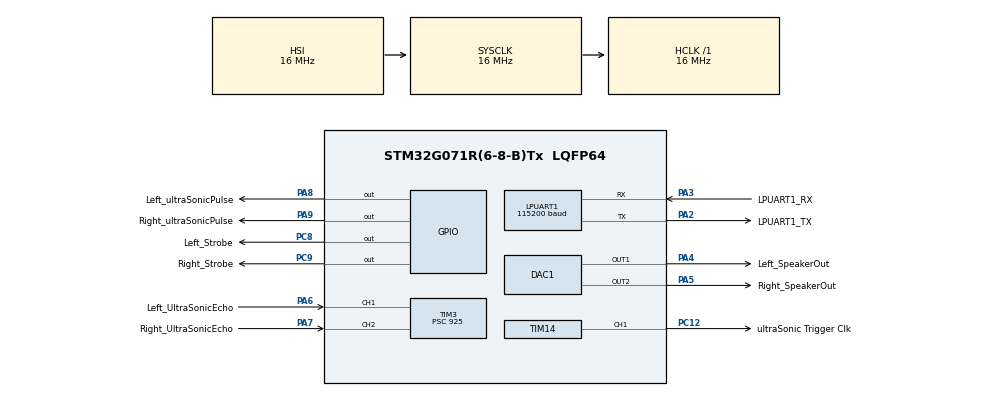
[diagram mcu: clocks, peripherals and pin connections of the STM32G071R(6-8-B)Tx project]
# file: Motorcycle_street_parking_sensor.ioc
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DAC1.DAC_Channel-DAC_OUT2=DAC_CHANNEL_2
DAC1.DAC_Trigger-DAC_OUT1=DAC_TRIGGER_T6_TRGO
DAC1.DAC_Trigger-DAC_OUT2=DAC_TRIGGER_T6_TRGO
Dma.DAC1_CH1.0.Direction=DMA_MEMORY_TO_PERIPH
Dma.DAC1_CH1.0.EventEnable=DISABLE
Dma.DAC1_CH1.0.Instance=DMA1_Channel1
Dma.DAC1_CH1.0.MemDataAlignment=DMA_MDATAALIGN_BYTE
Dma.DAC1_CH1.0.MemInc=DMA_MINC_ENABLE
Dma.DAC1_CH1.0.Mode=DMA_NORMAL
Dma.DAC1_CH1.0.PeriphDataAlignment=DMA_PDATAALIGN_BYTE
Dma.DAC1_CH1.0.PeriphInc=DMA_PINC_DISABLE
Dma.DAC1_CH1.0.Polarity=HAL_DMAMUX_REQ_GEN_RISING
Dma.DAC1_CH1.0.Priority=DMA_PRIORITY_LOW
Dma.DAC1_CH1.0.RequestNumber=1
Dma.DAC1_CH1.0.SignalID=NONE
Dma.DAC1_CH1.0.SyncEnable=DISABLE
Dma.DAC1_CH1.0.SyncPolarity=HAL_DMAMUX_SYNC_NO_EVENT
Dma.DAC1_CH1.0.SyncRequestNumber=1
Dma.DAC1_CH1.0.SyncSignalID=NONE
Dma.DAC1_CH2.1.Direction=DMA_MEMORY_TO_PERIPH
Dma.DAC1_CH2.1.EventEnable=DISABLE
Dma.DAC1_CH2.1.Instance=DMA1_Channel2
Dma.DAC1_CH2.1.MemDataAlignment=DMA_MDATAALIGN_BYTE
Dma.DAC1_CH2.1.MemInc=DMA_MINC_ENABLE
Dma.DAC1_CH2.1.Mode=DMA_NORMAL
Dma.DAC1_CH2.1.PeriphDataAlignment=DMA_PDATAALIGN_BYTE
Dma.DAC1_CH2.1.PeriphInc=DMA_PINC_DISABLE
Dma.DAC1_CH2.1.Polarity=HAL_DMAMUX_REQ_GEN_RISING
Dma.DAC1_CH2.1.Priority=DMA_PRIORITY_LOW
Dma.DAC1_CH2.1.RequestNumber=1
Dma.DAC1_CH2.1.SignalID=NONE
Dma.DAC1_CH2.1.SyncEnable=DISABLE
Dma.DAC1_CH2.1.SyncPolarity=HAL_DMAMUX_SYNC_NO_EVENT
Dma.DAC1_CH2.1.SyncRequestNumber=1
Dma.DAC1_CH2.1.SyncSignalID=NONE
Dma.Request0=DAC1_CH1
Dma.Request1=DAC1_CH2
FREERTOS.INCLUDE_eTaskGetState=1
FREERTOS.INCLUDE_pcTaskGetTaskName=1
FREERTOS.INCLUDE_uxTaskGetStackHighWaterMark=1
FREERTOS.INCLUDE_vTaskDelayUntil=1
FREERTOS.INCLUDE_xTaskGetCurrentTaskHandle=1
FREERTOS.Tasks01=SirenSound,0,128,StartTaskSirenSound,Default,&LeftSiren,Dynamic,NULL,NULL;LightFlash,-3,128,StartTaskLightFlash,Default,&LeftStrobe,Dynamic,NULL,NULL;SensorRead,-3,128,StartTaskSensorRead,Default,&LeftSensor,Dynamic,NULL,NULL;UartDebug,-3,128,StartTaskUartDebug,Default,NULL,Dynamic,NULL,NULL
FREERTOS.configTOTAL_HEAP_SIZE=6144
FREERTOS.configUSE_TIMERS=0
LPUART1.BaudRate=115200
LPUART1.WordLength=UART_WORDLENGTH_8B
Mcu.Family=STM32G0
Mcu.Name=STM32G071R(6-8-B)Tx
Mcu.Package=LQFP64
NVIC.DMA1_Channel1_IRQn=true\:3\:0\:false\:false\:true\:true\:false\:true
NVIC.DMA1_Channel2_3_IRQn=true\:3\:0\:false\:false\:true\:true\:false\:true
NVIC.TIM2_IRQn=true\:0\:0\:false\:false\:true\:false\:false\:true
NVIC.TIM3_IRQn=true\:3\:0\:false\:false\:true\:true\:true\:true
NVIC.TIM6_DAC_LPTIM1_IRQn=true\:3\:0\:false\:false\:true\:true\:true\:true
NVIC.TimeBase=TIM2_IRQn
NVIC.TimeBaseIP=TIM2
PA13.GPIO_Label=TMS
PA13.Mode=Serial_Wire
PA13.Signal=SYS_SWDIO
PA14-BOOT0.GPIO_Label=TCK
PA14-BOOT0.Mode=Serial_Wire
PA14-BOOT0.Signal=SYS_SWCLK
PA2.GPIO_Label=LPUART1_TX
PA2.Mode=Asynchronous
PA2.Signal=LPUART1_TX
PA3.GPIO_Label=LPUART1_RX
PA3.Mode=Asynchronous
PA3.Signal=LPUART1_RX
PA4.GPIO_Label=Left_SpeakerOut
PA4.Signal=COMP_DAC11_group
PA5.GPIO_Label=Right_SpeakerOut
PA5.Signal=COMP_DAC12_group
PA6.GPIO_Label=Left_UltraSonicEcho
PA6.Signal=S_TIM3_CH1
PA7.GPIO_Label=Right_UltraSonicEcho
PA7.Signal=S_TIM3_CH2
PA8.GPIO_Label=Left_ultraSonicPulse
PA8.Signal=GPIO_Output
PA9.GPIO_Label=Right_ultraSonicPulse
PA9.Signal=GPIO_Output
PC12.GPIO_Label=ultraSonic Trigger Clk
PC12.Signal=S_TIM14_CH1
PC13.Mode=SYS_WakeUp1
PC13.Signal=SYS_WKUP2
PC14-OSC32_IN\ (PC14).Mode=LSE-External-Oscillator
PC14-OSC32_IN\ (PC14).Signal=RCC_OSC32_IN
PC15-OSC32_OUT\ (PC15).Mode=LSE-External-Oscillator
PC15-OSC32_OUT\ (PC15).Signal=RCC_OSC32_OUT
PC8.GPIO_Label=Left_Strobe
PC8.Signal=GPIO_Output
PC9.GPIO_Label=Right_Strobe
PC9.Signal=GPIO_Output
PF0-OSC_IN\ (PF0).GPIO_Label=MCO
PF0-OSC_IN\ (PF0).Mode=HSE-External-Clock-Source
PF0-OSC_IN\ (PF0).Signal=RCC_OSC_IN
ProjectManager.HeapSize=0x200
ProjectManager.StackSize=0x400
ProjectManager.TargetToolchain=MDK-ARM V5
RCC.ADCFreq_Value=16000000
RCC.AHBFreq_Value=16000000
RCC.CortexFreq_Value=16000000
RCC.EXTERNAL_CLOCK_VALUE=12288000
RCC.HCLKFreq_Value=16000000
RCC.HSE_VALUE=8000000
RCC.HSI_VALUE=16000000
RCC.SYSCLKFreq_VALUE=16000000
RCC.VCOOutputFreq_Value=128000000
SH.COMP_DAC11_group.0=DAC1_OUT1,DAC_OUT1
SH.COMP_DAC12_group.0=DAC1_OUT2,DAC_OUT2
SH.S_TIM14_CH1.0=TIM14_CH1,PWM Generation1 CH1
SH.S_TIM3_CH1.0=TIM3_CH1,Input_Capture1_from_TI1
SH.S_TIM3_CH2.0=TIM3_CH2,Input_Capture2_from_TI2
TIM14.Channel=TIM_CHANNEL_1
TIM14.Period=400
TIM14.Pulse=200
TIM3.Channel-Input_Capture1_from_TI1=TIM_CHANNEL_1
TIM3.Channel-Input_Capture2_from_TI2=TIM_CHANNEL_2
TIM3.ClockDivision=TIM_CLOCKDIVISION_DIV1
TIM3.ICFilter_CH1=8
TIM3.Prescaler=925
TIM6.Period=333
TIM6.Prescaler=0
TIM6.TIM_MasterOutputTrigger=TIM_TRGO_UPDATE
VP_FREERTOS_VS_CMSIS_V1.Mode=CMSIS_V1
VP_SYS_VS_tim2.Mode=TIM2
VP_TIM14_VS_ClockSourceINT.Mode=Enable_Timer
VP_TIM3_VS_ClockSourceINT.Mode=Internal
VP_TIM6_VS_ClockSourceINT.Mode=Enable_Timer
board=NUCLEO-G071RB

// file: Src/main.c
/* USER CODE BEGIN Header */
/**
  ******************************************************************************
  * @file		   : main.c
  * @brief		  : Main program body
  ******************************************************************************
  ** This notice applies to any and all portions of this file
  * that are not between comment pairs USER CODE BEGIN and
  * USER CODE END. Other portions of this file, whether
  * inserted by the user or by software development tools
  * are owned by their respective copyright owners.
  *
  * COPYRIGHT(c) 2019 STMicroelectronics
  *
  * Redistribution and use in source and binary forms, with or without modification,
  * are permitted provided that the following conditions are met:
  *   1. Redistributions of source code must retain the above copyright notice,
  *	  this list of conditions and the following disclaimer.
  *   2. Redistributions in binary form must reproduce the above copyright notice,
  *	  this list of conditions and the following disclaimer in the documentation
  *	  and/or other materials provided with the distribution.
  *   3. Neither the name of STMicroelectronics nor the names of its contributors
  *	  may be used to endorse or promote products derived from this software
  *	  without specific prior written permission.
  *
  * THIS SOFTWARE IS PROVIDED BY THE COPYRIGHT HOLDERS AND CONTRIBUTORS "AS IS"
  * AND ANY EXPRESS OR IMPLIED WARRANTIES, INCLUDING, BUT NOT LIMITED TO, THE
  * IMPLIED WARRANTIES OF MERCHANTABILITY AND FITNESS FOR A PARTICULAR PURPOSE ARE
  * DISCLAIMED. IN NO EVENT SHALL THE COPYRIGHT HOLDER OR CONTRIBUTORS BE LIABLE
  * FOR ANY DIRECT, INDIRECT, INCIDENTAL, SPECIAL, EXEMPLARY, OR CONSEQUENTIAL
  * DAMAGES (INCLUDING, BUT NOT LIMITED TO, PROCUREMENT OF SUBSTITUTE GOODS OR
  * SERVICES; LOSS OF USE, DATA, OR PROFITS; OR BUSINESS INTERRUPTION) HOWEVER
  * CAUSED AND ON ANY THEORY OF LIABILITY, WHETHER IN CONTRACT, STRICT LIABILITY,
  * OR TORT (INCLUDING NEGLIGENCE OR OTHERWISE) ARISING IN ANY WAY OUT OF THE USE
  * OF THIS SOFTWARE, EVEN IF ADVISED OF THE POSSIBILITY OF SUCH DAMAGE.
  *
  ******************************************************************************
  */
/* USER CODE END Header */

#include "main.h"
#include "cmsis_os.h"

/* USER CODE BEGIN Includes */
#include <string.h>
#include <stdio.h>
#include <stdbool.h>

#include "WaveGeneration.h"
/* USER CODE END Includes */

/* USER CODE BEGIN PTD */
typedef enum _eMessagePriority
{
	LOG_EMERG	= 0,	/* system is unusable */
	LOG_ALERT	= 1,	/* action must be taken immediately */
	LOG_CRIT	= 2,	/* critical conditions */
	LOG_ERR		= 3,	/*  error conditions */
	LOG_WARNING	= 4,	/* warning conditions */
	LOG_NOTICE	= 5,	/* normal but significant condition */
	LOG_INFO	= 6,	/* informational */
	LOG_DEBUG	= 7,	/* debug-level messages */
}eMessagePriority;

const int MAX_MESSAGE_LENGTH = 32;
typedef struct _T_DbgMessage
{
	osThreadId calling_thread;
	char message[MAX_MESSAGE_LENGTH];
	TickType_t  tick_count;		//=xTaskGetTickCount();
	eMessagePriority priority;
} T_DbgMessage;

typedef struct _T_LightThreadArgs
{
	uint16_t strobe_pin;
	GPIO_TypeDef *strobe_port;
	uint32_t signal_mask;
} T_LightThreadArgs;

typedef struct _T_SensorThreadArgs
{
	uint16_t pulse_pin;
	GPIO_TypeDef *pulse_port;

	uint16_t echo_pin;
	GPIO_TypeDef *echo_port;

	uint32_t timer_capture_mask;
	uint32_t signal_mask;
	uint32_t icp_timer_channel;
} T_SensorThreadArgs;

typedef struct _T_SirenThreadArgs
{
	uint16_t siren_pin;
	GPIO_TypeDef *siren_port;
	uint32_t dac_channel;

	uint32_t signal_mask;
} T_SirenThreadArgs;

typedef enum _eRTOSSignals
{
	//signal is going to be a bitfield
	eSigBlank = 0x00,
	//lsb = isLeft
	eSigIsRight = 0x00,
	eSigIsLeft  = 0x01,

	//next is Light signal
	eSigIsLight = 0x02,

	//and then Siren
	eSigIsSiren = 0x04,

	//Sensor Evaluate, the actual sensor readings are done by interrupt
	eSigIsSensor= 0x08,
}eRTOSSignals;

/* USER CODE END PTD */

/* USER CODE BEGIN PD */
//------------------- ULTRA SONIC SENSOR PARAMETERS ---------------------------
//Maximum range is 4.5 meters. Sound at Standard Atmosphere temperature travels
//346 m/s. so our max ROUND TRIP time is (4.5m*2) * 340m/s = 26.47ms
const float SPEED_OF_SOUND_25C_CMpS = (346*100); //m/s
const uint8_t MAX_SONAR_DELAY_MS = 33;

//These thresholds are used when reading distance values from the ultrasonic
//sensor
const uint32_t MIN_DISTANCE_CLK_CYCLE_CM = 60;
const uint32_t THRESHOLD_VELOCITY_CHANGE = 10;

const uint16_t SIREN_SOUNDING_PERIOD_MS = 3000;
/* USER CODE END PD */

DAC_HandleTypeDef hdac1;
DMA_HandleTypeDef hdma_dac1_ch1;
DMA_HandleTypeDef hdma_dac1_ch2;

UART_HandleTypeDef hlpuart1;

TIM_HandleTypeDef htim3;
TIM_HandleTypeDef htim6;
TIM_HandleTypeDef htim14;

osThreadId SirenSoundHandle;
osThreadId LightFlashHandle;
osThreadId SensorReadHandle;
osThreadId UartDebugHandle;
/* USER CODE BEGIN PV */
osThreadId RightSirenSoundHandle;
osThreadId RightLightFlashHandle;
osThreadId RightSensorReadHandle;

//creates a mailbox containing up to 16 T_DbgMessages
osMailQId UartMailbox;
osMailQDef(UartMailbox, 16, T_DbgMessage);
/* USER CODE END PV */

void SystemClock_Config(void);
static void MX_GPIO_Init(void);
static void MX_DMA_Init(void);
static void MX_LPUART1_UART_Init(void);
static void MX_DAC1_Init(void);
static void MX_TIM3_Init(void);
static void MX_TIM14_Init(void);
static void MX_TIM6_Init(void);
void StartTaskSirenSound(void const * argument);
void StartTaskLightFlash(void const * argument);
void StartTaskSensorRead(void const * argument);
void StartTaskUartDebug(void const * argument);

/* USER CODE BEGIN 0 */

uint8_t  gau8_NUM_TIM3_ICP_READINGS_CHAN[2] = {0,0};
uint16_t gau16_TIM3_ICP_AVERAGE_CHAN[2]	 = {0,0};
uint32_t gu32_TIM3_ICP_SUM_CHAN[2]		  = {0,0};
uint16_t gu16_TIM3_CURR_ICP_CHAN[2]		 = {0,0};
uint16_t gu16_TIM3_PREV_ICP_CHAN[2]		 = {0,0};

WaveGenerator sound_engine;
/* USER CODE END 0 */

int main(void)
{
  /* USER CODE BEGIN 1 */
	char str_buffer[22];
	T_LightThreadArgs LeftStrobe;
	T_LightThreadArgs RightStrobe;
	T_SensorThreadArgs LeftSensor;
	T_SensorThreadArgs RightSensor;
	T_SirenThreadArgs LeftSiren;
	T_SirenThreadArgs RightSiren;

  /* USER CODE END 1 */

  /* MCU Configuration--------------------------------------------------------*/

  /* Reset of all peripherals, Initializes the Flash interface and the Systick. */
  HAL_Init();

  /* Configure the system clock */
  SystemClock_Config();

  /* Initialize all configured peripherals */
  MX_GPIO_Init();
  MX_DMA_Init();
  MX_LPUART1_UART_Init();
  MX_DAC1_Init();
  MX_TIM3_Init();
  MX_TIM14_Init();
  MX_TIM6_Init();
  /* USER CODE BEGIN 2 */
	LeftStrobe.strobe_port  = GPIOC;
	LeftStrobe.strobe_pin   = 8;

	RightStrobe.strobe_port = GPIOC;
	RightStrobe.strobe_pin  = 9;

	LeftSensor.pulse_port   = GPIOA;
	LeftSensor.pulse_pin	= GPIO_PIN_8;
	LeftSensor.echo_port	= GPIOA;	//input capture unit...
	LeftSensor.echo_pin	 = GPIO_PIN_6;
	LeftSensor.timer_capture_mask = TIM_FLAG_CC1; // TIM_SR_CC1IF_Msk;;
	LeftSensor.signal_mask  = eSigIsLeft;
	LeftSensor.icp_timer_channel=TIM_CHANNEL_1;

	RightSensor.pulse_port  = GPIOA;
	RightSensor.pulse_pin   = GPIO_PIN_9;
	RightSensor.echo_port   = GPIOA;	//input capture unit...
	RightSensor.echo_pin	= GPIO_PIN_7;
	RightSensor.timer_capture_mask = TIM_FLAG_CC2; // TIM_SR_CC2IF_Msk;
	RightSensor.signal_mask = eSigIsRight;
	RightSensor.icp_timer_channel = TIM_CHANNEL_2;

	LeftSiren.dac_channel   = DAC_CHANNEL_1;
	LeftSiren.siren_port	= GPIOA;
	LeftSiren.siren_pin	 = 4;

	RightSiren.dac_channel  = DAC_CHANNEL_2;
	RightSiren.siren_port   = GPIOA;
	RightSiren.siren_pin	= 5;
  /* USER CODE END 2 */

  /* USER CODE BEGIN RTOS_QUEUES */
	/* add queues, ... */

	// NOT THREAD CODE but not sure where else to put it
	strcpy(str_buffer,"starting scheduler..\0");
	// (handle, string string length, timeout)
	HAL_UART_Transmit(&hlpuart1, (uint8_t*)&str_buffer, 18, 1000);

	//starts the timer with interurpts enabled
	HAL_TIM_Base_Start_IT(&htim3);
	HAL_TIM_IC_Start_IT(&htim3, TIM_CHANNEL_1);
	HAL_TIM_IC_Start_IT(&htim3, TIM_CHANNEL_2);

	sound_engine = WaveGenerator(Waveform::eSinusoid,
								500,	//wave frequency
								1.0,	//amplitude
								-1,
								Resolution::e12Bit_Lower);

	//starts 40kHz square wave for sonar trigger
	HAL_TIM_PWM_Start(&htim14, TIM_CHANNEL_1);
  /* USER CODE END RTOS_QUEUES */

  /* Create the thread(s) */
  /* definition and creation of SirenSound */
  osThreadDef(SirenSound, StartTaskSirenSound, osPriorityNormal, 0, 128);
  SirenSoundHandle = osThreadCreate(osThread(SirenSound), (void*) &LeftSiren);

  /* definition and creation of LightFlash */
  osThreadDef(LightFlash, StartTaskLightFlash, osPriorityIdle, 0, 128);
  LightFlashHandle = osThreadCreate(osThread(LightFlash), (void*) &LeftStrobe);

  /* definition and creation of SensorRead */
  osThreadDef(SensorRead, StartTaskSensorRead, osPriorityIdle, 0, 128);
  SensorReadHandle = osThreadCreate(osThread(SensorRead), (void*) &LeftSensor);

  /* definition and creation of UartDebug */
  osThreadDef(UartDebug, StartTaskUartDebug, osPriorityIdle, 0, 128);
  UartDebugHandle = osThreadCreate(osThread(UartDebug), NULL);

  /* USER CODE BEGIN RTOS_THREADS */
	/* add threads, ... */
	osThreadDef(RightSirenSound, StartTaskSirenSound, osPriorityNormal, 0, 128);
	RightSirenSoundHandle = osThreadCreate(osThread(SirenSound), (void*) &RightSiren);

	/* definition and creation of LightFlash */
	osThreadDef(RightLightFlash, StartTaskLightFlash, osPriorityIdle, 0, 128);
	RightLightFlashHandle = osThreadCreate(osThread(LightFlash), (void*) &RightStrobe);

	/* definition and creation of SensorRead */
	osThreadDef(RightSensorRead, StartTaskSensorRead, osPriorityIdle, 0, 128);
	RightSensorReadHandle = osThreadCreate(osThread(SensorRead), (void*) &RightSensor);
  /* USER CODE END RTOS_THREADS */

  /* Start scheduler */
  osKernelStart();

  /* We should never get here as control is now taken by the scheduler */

  /* Infinite loop */
	while (1)
	{

	}
}

void SystemClock_Config(void)
{
  RCC_OscInitTypeDef RCC_OscInitStruct = {0};
  RCC_ClkInitTypeDef RCC_ClkInitStruct = {0};
  RCC_PeriphCLKInitTypeDef PeriphClkInit = {0};

  /** Configure the main internal regulator output voltage
  */
  HAL_PWREx_ControlVoltageScaling(PWR_REGULATOR_VOLTAGE_SCALE1);
  /** Initializes the CPU, AHB and APB busses clocks
  */
  RCC_OscInitStruct.OscillatorType = RCC_OSCILLATORTYPE_HSI;
  RCC_OscInitStruct.HSIState = RCC_HSI_ON;
  RCC_OscInitStruct.HSIDiv = RCC_HSI_DIV1;
  RCC_OscInitStruct.HSICalibrationValue = RCC_HSICALIBRATION_DEFAULT;
  RCC_OscInitStruct.PLL.PLLState = RCC_PLL_NONE;
  if (HAL_RCC_OscConfig(&RCC_OscInitStruct) != HAL_OK)
  {
    Error_Handler();
  }
  /** Initializes the CPU, AHB and APB busses clocks
  */
  RCC_ClkInitStruct.ClockType = RCC_CLOCKTYPE_HCLK|RCC_CLOCKTYPE_SYSCLK
                              |RCC_CLOCKTYPE_PCLK1;
  RCC_ClkInitStruct.SYSCLKSource = RCC_SYSCLKSOURCE_HSI;
  RCC_ClkInitStruct.AHBCLKDivider = RCC_SYSCLK_DIV1;
  RCC_ClkInitStruct.APB1CLKDivider = RCC_HCLK_DIV1;

  if (HAL_RCC_ClockConfig(&RCC_ClkInitStruct, FLASH_LATENCY_0) != HAL_OK)
  {
    Error_Handler();
  }
  /** Initializes the peripherals clocks
  */
  PeriphClkInit.PeriphClockSelection = RCC_PERIPHCLK_LPUART1;
  PeriphClkInit.Lpuart1ClockSelection = RCC_LPUART1CLKSOURCE_PCLK1;
  if (HAL_RCCEx_PeriphCLKConfig(&PeriphClkInit) != HAL_OK)
  {
    Error_Handler();
  }
}

static void MX_DAC1_Init(void)
{

  DAC_ChannelConfTypeDef sConfig = {0};

  /** DAC Initialization
  */
  hdac1.Instance = DAC1;
  if (HAL_DAC_Init(&hdac1) != HAL_OK)
  {
    Error_Handler();
  }
  /** DAC channel OUT1 config
  */
  sConfig.DAC_SampleAndHold = DAC_SAMPLEANDHOLD_DISABLE;
  sConfig.DAC_Trigger = DAC_TRIGGER_T6_TRGO;
  sConfig.DAC_OutputBuffer = DAC_OUTPUTBUFFER_ENABLE;
  sConfig.DAC_ConnectOnChipPeripheral = DAC_CHIPCONNECT_DISABLE;
  sConfig.DAC_UserTrimming = DAC_TRIMMING_FACTORY;
  if (HAL_DAC_ConfigChannel(&hdac1, &sConfig, DAC_CHANNEL_1) != HAL_OK)
  {
    Error_Handler();
  }
  /** DAC channel OUT2 config
  */
  sConfig.DAC_ConnectOnChipPeripheral = DAC_CHIPCONNECT_DISABLE;
  if (HAL_DAC_ConfigChannel(&hdac1, &sConfig, DAC_CHANNEL_2) != HAL_OK)
  {
    Error_Handler();
  }

}

static void MX_LPUART1_UART_Init(void)
{

  hlpuart1.Instance = LPUART1;
  hlpuart1.Init.BaudRate = 115200;
  hlpuart1.Init.WordLength = UART_WORDLENGTH_8B;
  hlpuart1.Init.StopBits = UART_STOPBITS_1;
  hlpuart1.Init.Parity = UART_PARITY_NONE;
  hlpuart1.Init.Mode = UART_MODE_TX_RX;
  hlpuart1.Init.HwFlowCtl = UART_HWCONTROL_NONE;
  hlpuart1.Init.OneBitSampling = UART_ONE_BIT_SAMPLE_DISABLE;
  hlpuart1.Init.ClockPrescaler = UART_PRESCALER_DIV1;
  hlpuart1.AdvancedInit.AdvFeatureInit = UART_ADVFEATURE_NO_INIT;
  hlpuart1.FifoMode = UART_FIFOMODE_DISABLE;
  if (HAL_UART_Init(&hlpuart1) != HAL_OK)
  {
    Error_Handler();
  }
  if (HAL_UARTEx_SetTxFifoThreshold(&hlpuart1, UART_TXFIFO_THRESHOLD_1_8) != HAL_OK)
  {
    Error_Handler();
  }
  if (HAL_UARTEx_SetRxFifoThreshold(&hlpuart1, UART_RXFIFO_THRESHOLD_1_8) != HAL_OK)
  {
    Error_Handler();
  }
  if (HAL_UARTEx_DisableFifoMode(&hlpuart1) != HAL_OK)
  {
    Error_Handler();
  }

}

static void MX_TIM3_Init(void)
{

  /* USER CODE BEGIN TIM3_Init 0 */

	//we want 1cm resolution. We know sound travels 346m/s@25C through air. Thus
	//our minimum time resolution for round trip is (0.01m*2) / (346) = 57.8uS
	//or 1/57.8uS = 17.3kHz which will be out clock speed. Thus every unit of
	//time is equivalent to 1 cm
	//Since our TimerClock is the internal 16MHz clock we need to get it down to
	//17.3kHz, so  16MHz / 17.3kHz = 294.8556 ~ 295, so our clock prescaler
	//is 295. This means each increment of the clock is 2cm (round trip) in
	//air@25C. Since we only want one way trip this is effectively 1cm.
	// A reading of 20 => 20CM, 150 = 1.5m etc.

  /* USER CODE END TIM3_Init 0 */

  TIM_ClockConfigTypeDef sClockSourceConfig = {0};
  TIM_MasterConfigTypeDef sMasterConfig = {0};
  TIM_IC_InitTypeDef sConfigIC = {0};

  htim3.Instance = TIM3;
  htim3.Init.Prescaler = 925;
  htim3.Init.CounterMode = TIM_COUNTERMODE_UP;
  htim3.Init.Period = 0;
  htim3.Init.ClockDivision = TIM_CLOCKDIVISION_DIV1;
  htim3.Init.AutoReloadPreload = TIM_AUTORELOAD_PRELOAD_DISABLE;
  if (HAL_TIM_Base_Init(&htim3) != HAL_OK)
  {
    Error_Handler();
  }
  sClockSourceConfig.ClockSource = TIM_CLOCKSOURCE_INTERNAL;
  if (HAL_TIM_ConfigClockSource(&htim3, &sClockSourceConfig) != HAL_OK)
  {
    Error_Handler();
  }
  if (HAL_TIM_IC_Init(&htim3) != HAL_OK)
  {
    Error_Handler();
  }
  sMasterConfig.MasterOutputTrigger = TIM_TRGO_RESET;
  sMasterConfig.MasterSlaveMode = TIM_MASTERSLAVEMODE_DISABLE;
  if (HAL_TIMEx_MasterConfigSynchronization(&htim3, &sMasterConfig) != HAL_OK)
  {
    Error_Handler();
  }
  sConfigIC.ICPolarity = TIM_INPUTCHANNELPOLARITY_RISING;
  sConfigIC.ICSelection = TIM_ICSELECTION_DIRECTTI;
  sConfigIC.ICPrescaler = TIM_ICPSC_DIV1;
  sConfigIC.ICFilter = 8;
  if (HAL_TIM_IC_ConfigChannel(&htim3, &sConfigIC, TIM_CHANNEL_1) != HAL_OK)
  {
    Error_Handler();
  }
  sConfigIC.ICFilter = 0;
  if (HAL_TIM_IC_ConfigChannel(&htim3, &sConfigIC, TIM_CHANNEL_2) != HAL_OK)
  {
    Error_Handler();
  }

}

static void MX_TIM6_Init(void)
{

  TIM_MasterConfigTypeDef sMasterConfig = {0};

  htim6.Instance = TIM6;
  htim6.Init.Prescaler = 0;
  htim6.Init.CounterMode = TIM_COUNTERMODE_UP;
  htim6.Init.Period = 333;
  htim6.Init.AutoReloadPreload = TIM_AUTORELOAD_PRELOAD_DISABLE;
  if (HAL_TIM_Base_Init(&htim6) != HAL_OK)
  {
    Error_Handler();
  }
  sMasterConfig.MasterOutputTrigger = TIM_TRGO_UPDATE;
  sMasterConfig.MasterSlaveMode = TIM_MASTERSLAVEMODE_DISABLE;
  if (HAL_TIMEx_MasterConfigSynchronization(&htim6, &sMasterConfig) != HAL_OK)
  {
    Error_Handler();
  }

}

static void MX_TIM14_Init(void)
{

  TIM_OC_InitTypeDef sConfigOC = {0};

  htim14.Instance = TIM14;
  htim14.Init.Prescaler = 0;
  htim14.Init.CounterMode = TIM_COUNTERMODE_UP;
  htim14.Init.Period = 400;
  htim14.Init.ClockDivision = TIM_CLOCKDIVISION_DIV1;
  htim14.Init.AutoReloadPreload = TIM_AUTORELOAD_PRELOAD_DISABLE;
  if (HAL_TIM_Base_Init(&htim14) != HAL_OK)
  {
    Error_Handler();
  }
  if (HAL_TIM_PWM_Init(&htim14) != HAL_OK)
  {
    Error_Handler();
  }
  sConfigOC.OCMode = TIM_OCMODE_PWM1;
  sConfigOC.Pulse = 200;
  sConfigOC.OCPolarity = TIM_OCPOLARITY_HIGH;
  sConfigOC.OCFastMode = TIM_OCFAST_DISABLE;
  if (HAL_TIM_PWM_ConfigChannel(&htim14, &sConfigOC, TIM_CHANNEL_1) != HAL_OK)
  {
    Error_Handler();
  }
  HAL_TIM_MspPostInit(&htim14);

}

static void MX_DMA_Init(void)
{
  /* DMA controller clock enable */
  __HAL_RCC_DMA1_CLK_ENABLE();

  /* DMA interrupt init */
  /* DMA1_Channel1_IRQn interrupt configuration */
  HAL_NVIC_SetPriority(DMA1_Channel1_IRQn, 3, 0);
  HAL_NVIC_EnableIRQ(DMA1_Channel1_IRQn);
  /* DMA1_Channel2_3_IRQn interrupt configuration */
  HAL_NVIC_SetPriority(DMA1_Channel2_3_IRQn, 3, 0);
  HAL_NVIC_EnableIRQ(DMA1_Channel2_3_IRQn);

}

static void MX_GPIO_Init(void)
{
  GPIO_InitTypeDef GPIO_InitStruct = {0};

  /* GPIO Ports Clock Enable */
  __HAL_RCC_GPIOC_CLK_ENABLE();
  __HAL_RCC_GPIOF_CLK_ENABLE();
  __HAL_RCC_GPIOA_CLK_ENABLE();

  /*Configure GPIO pin Output Level */
  HAL_GPIO_WritePin(GPIOA, Left_ultraSonicPulse_Pin|Right_ultraSonicPulse_Pin, GPIO_PIN_RESET);

  /*Configure GPIO pin Output Level */
  HAL_GPIO_WritePin(GPIOC, Left_Strobe_Pin|Right_Strobe_Pin, GPIO_PIN_RESET);

  /*Configure GPIO pins : Left_ultraSonicPulse_Pin Right_ultraSonicPulse_Pin */
  GPIO_InitStruct.Pin = Left_ultraSonicPulse_Pin|Right_ultraSonicPulse_Pin;
  GPIO_InitStruct.Mode = GPIO_MODE_OUTPUT_PP;
  GPIO_InitStruct.Pull = GPIO_NOPULL;
  GPIO_InitStruct.Speed = GPIO_SPEED_FREQ_LOW;
  HAL_GPIO_Init(GPIOA, &GPIO_InitStruct);

  /*Configure GPIO pins : Left_Strobe_Pin Right_Strobe_Pin */
  GPIO_InitStruct.Pin = Left_Strobe_Pin|Right_Strobe_Pin;
  GPIO_InitStruct.Mode = GPIO_MODE_OUTPUT_PP;
  GPIO_InitStruct.Pull = GPIO_NOPULL;
  GPIO_InitStruct.Speed = GPIO_SPEED_FREQ_LOW;
  HAL_GPIO_Init(GPIOC, &GPIO_InitStruct);

}

/* USER CODE BEGIN 4 */
/**
  * @brief Interrupt handler for Input Capture pin. This callback is used for
  * all timers and all channels so you must cheeck the exact caller
  * @param htim the timer device that triggered the innterrupt
  * @retval None
  */
void HAL_TIM_IC_CaptureCallback(TIM_HandleTypeDef *htim)
{
	uint8_t  my_idx;
	uint32_t my_signal;
	uint32_t current_reading;

	//right now we only want timer3 input capture events
	if (htim->Instance==TIM3)
	{
		if (htim->Channel == TIM_CHANNEL_1)
		{
			my_idx=0;
			my_signal = eSigIsLeft;
		}
		else if (htim->Channel == TIM_CHANNEL_2)
		{
			my_idx=0;
			my_signal = eSigIsRight;
		}
		else
		{
			return;
		}

		gu16_TIM3_CURR_ICP_CHAN[my_idx] = __HAL_TIM_GetCompare(&htim3, TIM_CHANNEL_1);

		//calculate distance accounting for case that timer rolls over
		if (gu16_TIM3_CURR_ICP_CHAN[my_idx] < gu16_TIM3_PREV_ICP_CHAN[my_idx])
		{
			//first we need the value till rollover. then add the extra cycles
			current_reading += (0xFFFF - gu16_TIM3_PREV_ICP_CHAN[my_idx])
										+ gu16_TIM3_CURR_ICP_CHAN[my_idx];
		}
		else
		{
			current_reading +=
				(gu16_TIM3_CURR_ICP_CHAN[my_idx] - gu16_TIM3_PREV_ICP_CHAN[my_idx]);
		}

		//there are no objects in range, ignore the reading
		if (current_reading > MAX_SONAR_DELAY_MS)
		{
			return;
		}
		gu32_TIM3_ICP_SUM_CHAN[my_idx] += current_reading;
		gau8_NUM_TIM3_ICP_READINGS_CHAN[my_idx]++;

		gu16_TIM3_PREV_ICP_CHAN[my_idx] = gu16_TIM3_CURR_ICP_CHAN[my_idx];

		//we want to take an average of 2^n readings for better accuracy
		// 8 = 2^N so N=3
		if (gau8_NUM_TIM3_ICP_READINGS_CHAN[my_idx] >= 8)
		{
			//we divide the running sum by num of readings. since it's a
			//power of two we get the same effect using a shift by N
			gau16_TIM3_ICP_AVERAGE_CHAN[my_idx] = (gu32_TIM3_ICP_SUM_CHAN[my_idx] >> 3);

			osSignalSet(SensorReadHandle, my_signal | eSigIsSensor);

			//starts next running average
			gau8_NUM_TIM3_ICP_READINGS_CHAN[my_idx] = 0;
			gu32_TIM3_ICP_SUM_CHAN[my_idx] = 0;
		}
	}
}

/* USER CODE END 4 */

void StartTaskSirenSound(void const * argument)
{

  /* USER CODE BEGIN 5 */
	T_SirenThreadArgs* config;
	osEvent evt;
	DAC_ChannelConfTypeDef sDacConfig = {0};

	config = (T_SirenThreadArgs*) argument;

	HAL_DAC_Start(&hdac1, config->dac_channel);

	//enable output
	sDacConfig.DAC_SampleAndHold = DAC_SAMPLEANDHOLD_DISABLE;
	sDacConfig.DAC_Trigger = DAC_TRIGGER_T6_TRGO;
	sDacConfig.DAC_OutputBuffer = DAC_OUTPUTBUFFER_DISABLE;
	sDacConfig.DAC_ConnectOnChipPeripheral = DAC_CHIPCONNECT_DISABLE;
	sDacConfig.DAC_UserTrimming = DAC_TRIMMING_FACTORY;

	/* Infinite loop */
	for(;;)
	{
		//you need to turn on the DAC here
		evt = osSignalWait((int) config->signal_mask | eSigIsSiren, 100);
		if (evt.status == osEventSignal)
		{
		  //enable output, the samples for the DAC are set in Timer6 trigger
		  sDacConfig.DAC_OutputBuffer = DAC_OUTPUTBUFFER_ENABLE;
		  if (HAL_DAC_ConfigChannel(&hdac1, &sDacConfig,  config->dac_channel) != HAL_OK)
		  {
			Error_Handler();
		  }

		  osDelay(SIREN_SOUNDING_PERIOD_MS);

		  //disables output, but leaves peripreal enabled
		  sDacConfig.DAC_OutputBuffer = DAC_OUTPUTBUFFER_DISABLE;
		  if (HAL_DAC_ConfigChannel(&hdac1, &sDacConfig,  config->dac_channel) != HAL_OK)
		  {
			Error_Handler();
		  }
		}
	}
  /* USER CODE END 5 */
}

/* USER CODE BEGIN Header_StartTaskLightFlash */
/**
* @brief Function implementing the LightFlash thread.
* @param argument: T_LightThreadArgs* all paraeters needed for light task
* @retval None
*/
/* USER CODE END Header_StartTaskLightFlash */
void StartTaskLightFlash(void const * argument)
{
  /* USER CODE BEGIN StartTaskLightFlash */
	osEvent event;
	uint8_t num_flashes;
	T_LightThreadArgs *config;

	num_flashes = 0;

	config = (T_LightThreadArgs*)argument;
	/* Infinite loop */
	for(;;)
	{

		if (num_flashes > 0)
		{
			HAL_GPIO_TogglePin(config->strobe_port, config->strobe_pin);
			osDelay(150);

			if (num_flashes-- == 0)
			{
				//ensure it's off
				HAL_GPIO_WritePin(config->strobe_port,
								  config->strobe_pin,
								  GPIO_PIN_RESET);
			}
		}
		else
		{
			//flags are automatically cleared when thread wakes and checks flags
			event = osSignalWait( eSigIsLight | eSigIsLeft, osWaitForever);

			if (event.status == osEventSignal)
			{
				//must be even number
				num_flashes = 10;
			}
		}
	}
  /* USER CODE END StartTaskLightFlash */
}

/* USER CODE BEGIN Header_StartTaskSensorRead */
/**
* @brief Function implementing the SensorRead thread. This thread checks the
* global variables for sensor readings and decides what action to take. If
* readings are close call siren/light
* @param argument: T_SensorThreadArgs* all aparameters needed for Sensor task
* @retval None
* @note this function doesn't actually do the readings itself, instead sensor
* readings come from the ICP interrupt see HAL_TIM_IC_CaptureCallback
*/
/* USER CODE END Header_StartTaskSensorRead */
void StartTaskSensorRead(void const * argument)
{
  /* USER CODE BEGIN StartTaskSensorRead */
	UBaseType_t uxHighWaterMark;
	osThreadId my_task_handle;
	uint8_t my_idx;

	T_DbgMessage *pMsg;
	T_SensorThreadArgs* config;

	uint16_t distance_cm;
	uint16_t prev_distance_cm;
	int32_t change_in_distance;

	osEvent event;

	//arguments
	config = (T_SensorThreadArgs*)argument;

	if (config->icp_timer_channel == TIM_CHANNEL_1)
	{
		my_idx = 0;
	}
	else if (config->icp_timer_channel == TIM_CHANNEL_2)
	{
		my_idx = 1;
	}

	my_task_handle = xTaskGetCurrentTaskHandle();
	uxHighWaterMark = uxTaskGetStackHighWaterMark( NULL );

	//get watermark, how much stack space is left
	uxHighWaterMark = uxTaskGetStackHighWaterMark( NULL );

	pMsg->tick_count = xTaskGetTickCount();
	pMsg->calling_thread =  my_task_handle;
	sprintf(pMsg->message,"Watermark:%lu words", uxHighWaterMark);

	osMailPut(UartMailbox, pMsg);

	/* Infinite loop */
	for(;;)
	{
		//flags are automatically cleared when thread wakes and checks flags
		event = osSignalWait( eSigIsSensor | config->signal_mask, osWaitForever);

		if (event.status == osEventSignal)
		{
			distance_cm = gau16_TIM3_ICP_AVERAGE_CHAN[my_idx];
			//RECALL: 1 timer3 clock cycle ~1cm using the ultra sonic sensor
			//is the value to close?
			//what about wrap around, abs value... no that wont work... aia.test
			if (distance_cm < MIN_DISTANCE_CLK_CYCLE_CM)
			{
				osSignalSet(SirenSoundHandle, config->signal_mask | eSigIsSiren);
			}

			change_in_distance = (prev_distance_cm - distance_cm);
			//if the value is changing too quickly (means car is coming up quick)
			if ( (change_in_distance >  THRESHOLD_VELOCITY_CHANGE)
			   ||(change_in_distance < -THRESHOLD_VELOCITY_CHANGE))
			{
				osSignalSet(LightFlashHandle, config->signal_mask | eSigIsLight);
			}

			//send mailbox
			pMsg = (T_DbgMessage*) osMailCAlloc(UartMailbox, osWaitForever);

			pMsg->tick_count = xTaskGetTickCount();
			pMsg->calling_thread =  my_task_handle;
			sprintf(pMsg->message,"Dist:%d cm", distance_cm);

			osMailPut(UartMailbox, pMsg);
		}

	}
  /* USER CODE END StartTaskSensorRead */
}

void StartTaskUartDebug(void const * argument)
{
  /* USER CODE BEGIN StartTaskUartDebug */
	T_DbgMessage *pDbgMsg;
	osEvent event;
	char* task_name;
	char mydata[MAX_MESSAGE_LENGTH];

	strcpy(mydata,"Lets go!\r\n");
	HAL_UART_Transmit(&hlpuart1, (uint8_t*)mydata, 10, 1000);

	sprintf(mydata, ".\r\n>");
	/* Infinite loop */
	for(;;)
	{
		HAL_UART_Transmit(&hlpuart1, (uint8_t*)mydata, 4, 1000);
		osDelay(1000);

		event = osMailGet(UartMailbox, osWaitForever);

		if (event.status == osEventMail)
		{
			pDbgMsg = (T_DbgMessage*)event.value.p;

			//print thread name
			task_name = pcTaskGetName(pDbgMsg->calling_thread);
			if (task_name != NULL)
			{
				HAL_UART_Transmit(&hlpuart1, (uint8_t*)task_name, strlen(task_name), 1000);
			}
			else
			{
				sprintf(task_name, "unkown");
				HAL_UART_Transmit(&hlpuart1, (uint8_t*)task_name, strlen(task_name), 1000);
			}

			//time
			sprintf(mydata, ":%ul:", pDbgMsg->tick_count);
			HAL_UART_Transmit(&hlpuart1, (uint8_t*)mydata, strlen(mydata), 1000);

			strcpy(mydata, pDbgMsg->message);
			HAL_UART_Transmit(&hlpuart1, (uint8_t*)mydata, strlen(mydata), 1000);

			strcpy(mydata, "\r\n");
			HAL_UART_Transmit(&hlpuart1, (uint8_t*)mydata, 2, 1000);

			osMailFree(UartMailbox, pDbgMsg);

		}
		else
		{
		  sprintf(mydata, "event:%d", event.status);
		  HAL_UART_Transmit(&hlpuart1, (uint8_t*)mydata, 8, 1000);
		  sprintf(mydata, ".\r\n>");
		}
	}
  /* USER CODE END StartTaskUartDebug */
}

void HAL_TIM_PeriodElapsedCallback(TIM_HandleTypeDef *htim)
{
  /* USER CODE BEGIN Callback 0 */
	uint16_t dac_output_value;

  /* USER CODE END Callback 0 */
  if (htim->Instance == TIM2)
  {
    HAL_IncTick();
  }
  /* USER CODE BEGIN Callback 1 */
  else if (htim->Instance == TIM6)
  {
	  dac_output_value = sound_engine.generateNextSample();

	  //for now set both channels to the same value, we may change this in the future
	  HAL_DAC_SetValue(&hdac1, DAC1_CHANNEL_1, DAC_ALIGN_12B_R, dac_output_value);
	  HAL_DAC_SetValue(&hdac1, DAC1_CHANNEL_2, DAC_ALIGN_12B_R, dac_output_value);
  }
  /* USER CODE END Callback 1 */
}

void Error_Handler(void)
{
}

/************************ (C) COPYRIGHT STMicroelectronics *****END OF FILE****/
